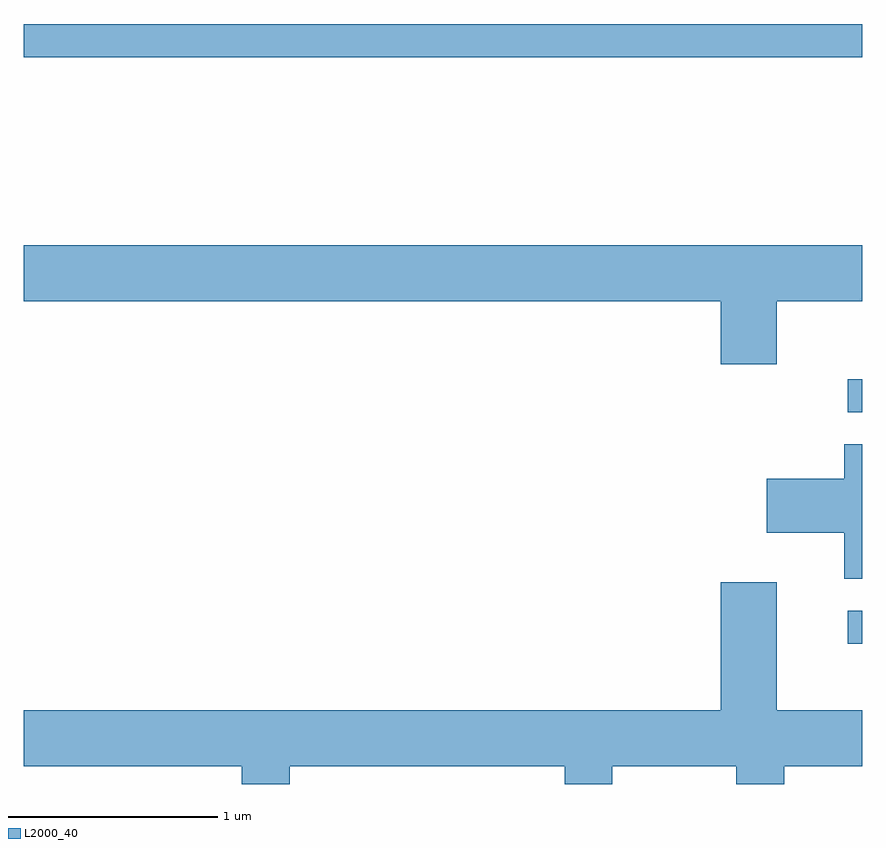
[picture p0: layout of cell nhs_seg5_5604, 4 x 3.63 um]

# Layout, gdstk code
import gdstk
lib = gdstk.Library(unit=1e-6, precision=1e-09)
def R(c, l, rs):  # rectangles x0, y0, x1, y1
    for r in rs: c.add(gdstk.rectangle(r[:2], r[2:], *l))
def P(c, l, *ps):  # polygons
    for p in ps: c.add(gdstk.Polygon(p, *l))
L2000_40 = (2000, 40)

nhs_seg5_5604 = lib.new_cell('nhs_seg5_5604')
R(nhs_seg5_5604, L2000_40, [(355.543,1430.741,355.611,1430.899), (355.543,1431.846,355.611,1432.004), (351.611,1433.541,355.611,1433.699)])
P(nhs_seg5_5604, L2000_40, [(355.204,1432.376),(355.611,1432.376),(355.611,1432.644),(351.611,1432.644),(351.611,1432.376),(354.936,1432.376),(354.936,1432.076),(355.204,1432.076)],
  [(355.611,1431.694),(355.526,1431.694),(355.526,1431.529),(355.156,1431.529),(355.156,1431.271),(355.526,1431.271),(355.526,1431.051),(355.611,1431.051)],
  [(352.879,1430.156),(354.191,1430.156),(354.191,1430.072),(354.419,1430.072),(354.419,1430.156),(355.011,1430.156),(355.011,1430.072),(355.239,1430.072),(355.239,1430.156),(355.611,1430.156),(355.611,1430.424),(355.204,1430.424),(355.204,1431.034),(354.936,1431.034),(354.936,1430.424),(351.611,1430.424),(351.611,1430.156),(352.651,1430.156),(352.651,1430.072),(352.879,1430.072)])

lib.write_gds('nhs_seg5_5604.gds')
